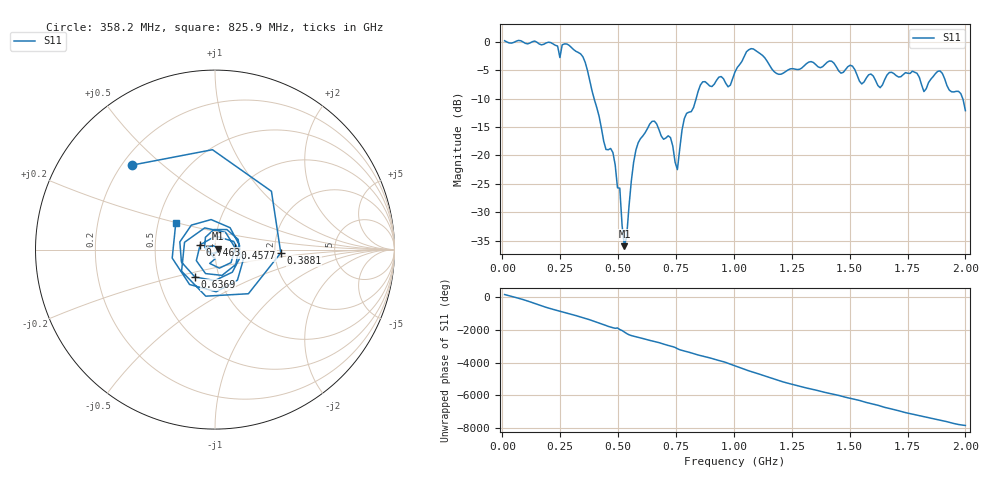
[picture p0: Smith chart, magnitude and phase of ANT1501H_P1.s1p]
!Created with skrf (http://scikit-rf.org).
# Hz S RI R 50.0
!freq ReS11 ImS11
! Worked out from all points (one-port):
!   201 points, 10 MHz to 2 GHz, reference 50 ohm
!   lowest |S11| = -36.0 dB at 527.4 MHz (marker M1), VSWR 1.03, Z = 51.5 + j0.554 ohm
!   |S11| at or under -10 dB: 396.6 MHz to 837.1 MHz (440.5 MHz wide, 71.4 % of centre); 1.989 GHz to end of sweep
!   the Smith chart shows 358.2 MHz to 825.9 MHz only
!   S11 on the Smith chart (normalised r, x): 358.2 MHz: 0.24, +0.40; 388.1 MHz: 2.15, -0.09; 457.8 MHz: 1.25, +0.03; 636.9 MHz: 0.77, -0.24; 746.3 MHz: 0.85, +0.05; 825.9 MHz: 0.62, +0.20
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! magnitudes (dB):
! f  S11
! 10 MHz  0.2
! 248.8 MHz  -2.8
! 258.8 MHz  -0.5
! 358.2 MHz  -3.6
! 388.1 MHz  -8.7
! 457.8 MHz  -19.0
! 477.6 MHz  -19.5
! 507.5 MHz  -25.8
! 527.4 MHz  -36.0
! 577.1 MHz  -19.0
! 636.9 MHz  -14.5
! 726.4 MHz  -16.9
! 746.3 MHz  -21.2
! 756.2 MHz  -22.5
! 786.1 MHz  -13.5
! 825.9 MHz  -11.6
! 865.7 MHz  -7.0
! 975.1 MHz  -7.9
! 1.005 GHz  -5.3
! 1.075 GHz  -1.2
! 1.184 GHz  -5.5
! 1.254 GHz  -4.7
! 1.502 GHz  -4.1
! 1.632 GHz  -8.1
! 1.751 GHz  -5.5
! 1.821 GHz  -8.7
! 1.891 GHz  -5.1
! 2 GHz  -12.1
